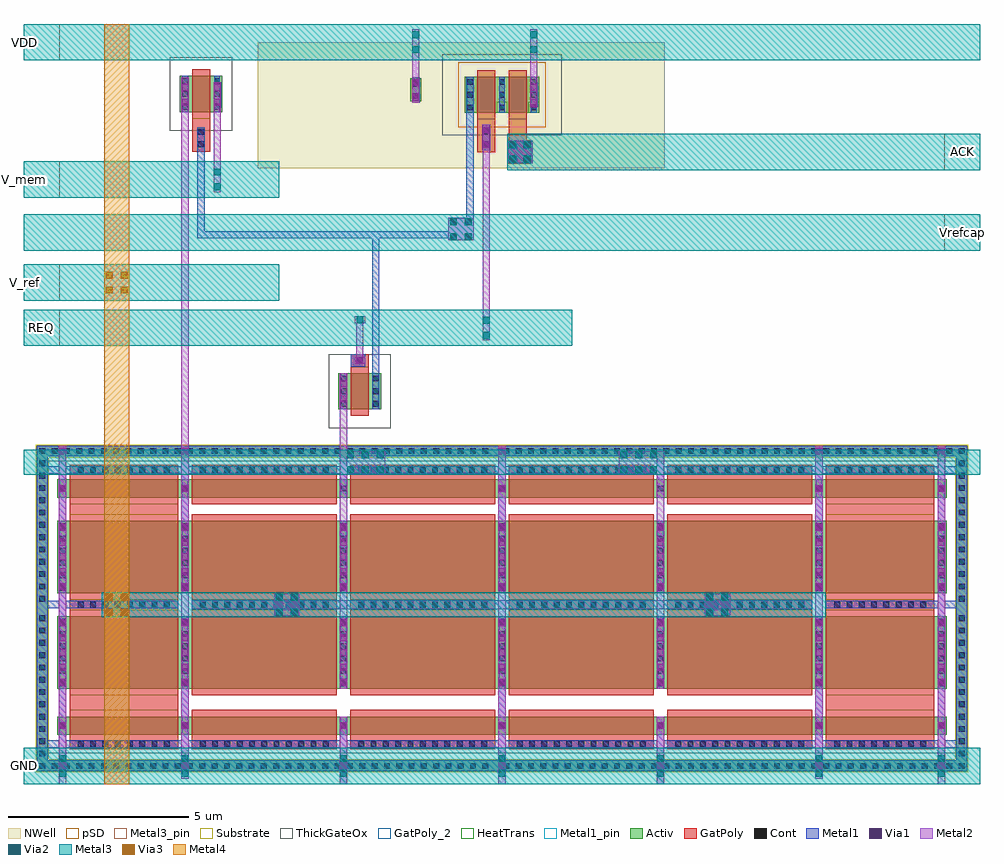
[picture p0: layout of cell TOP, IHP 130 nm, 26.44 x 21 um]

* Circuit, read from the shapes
.subckt TOP ACK GND REQ VDD V_mem V_ref Vrefcap
XM1 GND GND GND GND sg13_hv_nmos w=0.5u l=3u m=4
XM2 GND GND GND GND sg13_hv_nmos w=2u l=3u m=4
XM3 GND GND GND GND sg13_hv_nmos w=0.5u l=4u m=8
XM4 n1 V_ref GND GND sg13_hv_nmos w=2u l=4u m=8
XM5 V_mem Vrefcap GND GND sg13_hv_nmos w=1u l=0.5u
XM6 Vrefcap REQ n1 GND sg13_hv_nmos w=1u l=0.5u
XM7 n2 REQ Vrefcap VDD sg13_hv_pmos w=1u l=0.5u
XM8 VDD ACK n2 VDD sg13_hv_pmos w=1u l=0.5u
.ends

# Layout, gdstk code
from math import pi, radians
import gdstk
lib = gdstk.Library(unit=1e-6, precision=1e-09)
def R(c, l, rs):  # rectangles x0, y0, x1, y1
    for r in rs: c.add(gdstk.rectangle(r[:2], r[2:], *l))
def A(c, l, x, y, w, h, nx, ny, dx, dy):  # array of equal rectangles
    R(c, l, [(x+i*dx, y+j*dy, x+i*dx+w, y+j*dy+h) for i in range(nx) for j in range(ny)])
def P(c, l, *ps):  # polygons
    for p in ps: c.add(gdstk.Polygon(p, *l))
Activ = (1, 0)
GatPoly = (5, 0)
GatPoly_2 = (5, 2)
Cont = (6, 0)
Metal1 = (8, 0)
Metal1_pin = (8, 2)
Metal2 = (10, 0)
pSD = (14, 0)
Via1 = (19, 0)
Via2 = (29, 0)
Metal3 = (30, 0)
Metal3_pin = (30, 2)
NWell = (31, 0)
Substrate = (40, 0)
ThickGateOx = (44, 0)
Via3 = (49, 0)
Metal4 = (50, 0)
HeatTrans = (51, 0)

nmoshv = lib.new_cell('nmosHV')
A(nmoshv, Activ, 0, 0, 0.3, 0.3, 3, 1, 4.38, 0)
R(nmoshv, Activ, [(0,0,9.06,2)])
R(nmoshv, GatPoly, [(0.34,-0.18,4.34,2.18), (4.72,-0.18,8.72,2.18)])
R(nmoshv, GatPoly_2, [(0.34,-0.18,4.34,2.18)])
A(nmoshv, Cont, 0.07, 0.07, 0.16, 0.16, 3, 6, 4.38, 0.34)
A(nmoshv, Metal1, 0.07, 0, 0.16, 2, 3, 1, 4.38, 0)
R(nmoshv, Metal1_pin, [(0.07,0,0.23,2), (4.45,0,4.61,2)])
R(nmoshv, ThickGateOx, [(-0.27,-0.52,9.33,2.52)])
R(nmoshv, HeatTrans, [(0.34,-0.18,4.34,2.18), (4.72,-0.18,8.72,2.18)])
nmoshv.add(gdstk.Label('nmosHV', (2.34,1), layer=63, texttype=0))
nmoshv.add(gdstk.Label('nmosHV', (2.34,1), layer=51, texttype=0))
nmoshv.add(gdstk.Label('nmosHV', (6.72,1), layer=51, texttype=0))

nmoshv_1 = lib.new_cell('nmosHV$1')
A(nmoshv_1, Activ, 0, 0, 0.3, 0.3, 5, 1, 4.38, 0)
R(nmoshv_1, Activ, [(0,0,17.82,0.5)])
A(nmoshv_1, GatPoly, 0.34, -0.18, 4, 0.86, 4, 1, 4.38, 0)
R(nmoshv_1, GatPoly_2, [(0.34,-0.18,4.34,0.68)])
A(nmoshv_1, Cont, 0.07, 0.17, 0.16, 0.16, 5, 1, 4.38, 0)
A(nmoshv_1, Metal1, 0.07, 0, 0.16, 0.5, 5, 1, 4.38, 0)
R(nmoshv_1, Metal1_pin, [(0.07,0,0.23,0.5), (4.45,0,4.61,0.5)])
R(nmoshv_1, ThickGateOx, [(-0.27,-0.52,18.09,1.02)])
A(nmoshv_1, HeatTrans, 0.34, -0.18, 4, 0.86, 4, 1, 4.38, 0)
nmoshv_1.add(gdstk.Label('nmosHV', (2.34,0.25), layer=63, texttype=0))
nmoshv_1.add(gdstk.Label('nmosHV', (2.34,0.25), layer=51, texttype=0))
nmoshv_1.add(gdstk.Label('nmosHV', (6.72,0.25), layer=51, texttype=0))
nmoshv_1.add(gdstk.Label('nmosHV', (11.1,0.25), layer=51, texttype=0))
nmoshv_1.add(gdstk.Label('nmosHV', (15.48,0.25), layer=51, texttype=0))

guard_ring = lib.new_cell('guard_ring')
R(guard_ring, Activ, [(-12.85,-4.2,-12.55,4.2), (12.55,-4.2,12.85,4.2), (-12.85,4.2,12.85,4.5)])
P(guard_ring, Activ, [(-12.85,-4.5),(-12.85,4.2),(-12.55,4.2),(-12.55,-4.2),(12.55,-4.2),(12.55,4.2),(-12.85,4.2),(-12.85,4.5),(12.85,4.5),(12.85,-4.5)])
A(guard_ring, Cont, -12.78, -4.43, 0.16, 0.16, 37, 2, 0.34, 8.7)
A(guard_ring, Cont, 0.04, -4.43, 0.16, 0.16, 38, 2, 0.34, 8.7)
A(guard_ring, Cont, -12.78, -4.09, 0.16, 0.16, 1, 12, 0, 0.34)
A(guard_ring, Cont, 12.62, -4.09, 0.16, 0.16, 1, 12, 0, 0.34)
A(guard_ring, Cont, -12.78, 0.19, 0.16, 0.16, 1, 12, 0, 0.34)
A(guard_ring, Cont, 12.62, 0.19, 0.16, 0.16, 1, 12, 0, 0.34)
R(guard_ring, Metal1, [(-12.85,-4.5,12.85,-4.2), (-12.85,-4.2,-12.55,4.2), (12.55,-4.2,12.85,4.2), (-12.85,4.2,12.85,4.5)])
R(guard_ring, pSD, [(-12.88,-4.17,-12.52,4.17), (12.52,-4.17,12.88,4.17), (-12.88,4.17,12.88,4.53)])
P(guard_ring, pSD, [(-12.88,-4.53),(-12.88,4.17),(-12.52,4.17),(-12.52,-4.17),(12.52,-4.17),(12.52,4.17),(-12.88,4.17),(-12.88,4.53),(12.88,4.53),(12.88,-4.53)])
R(guard_ring, Substrate, [(-12.88,-4.17,-12.52,4.17), (12.52,-4.17,12.88,4.17), (-12.88,4.17,12.88,4.53)])
P(guard_ring, Substrate, [(-12.88,-4.53),(-12.88,4.17),(-12.52,4.17),(-12.52,-4.17),(12.52,-4.17),(12.52,4.17),(-12.88,4.17),(-12.88,4.53),(12.88,4.53),(12.88,-4.53)])
guard_ring.add(gdstk.Label('sub!', (0,-4.35), layer=63, texttype=0))

via_stack = lib.new_cell('via_stack')
R(via_stack, Metal2, [(-0.1,-0.35,0.1,0.35)])
R(via_stack, Via2, [(-0.095,-0.3,0.095,-0.11), (-0.095,0.11,0.095,0.3)])
R(via_stack, Metal3, [(-0.1,-0.35,0.1,0.35)])

via_stack_2 = lib.new_cell('via_stack$2')
R(via_stack_2, Metal1, [(-0.145,-0.105,0.145,0.105)])
R(via_stack_2, Metal2, [(-0.145,-0.1,0.145,0.1)])
R(via_stack_2, Via1, [(-0.095,-0.095,0.095,0.095)])

via_stack_3 = lib.new_cell('via_stack$3')
R(via_stack_3, Metal1, [(-0.965,-0.105,0.965,0.105)])
R(via_stack_3, Metal2, [(-0.965,-0.1,0.965,0.1)])
A(via_stack_3, Via1, -0.915, -0.095, 0.19, 0.19, 5, 1, 0.41, 0)

nmoshv_4 = lib.new_cell('nmosHV$4')
R(nmoshv_4, Activ, [(0,0,0.3,0.3), (0,0,1.18,1), (0.88,0,1.18,0.3)])
R(nmoshv_4, GatPoly, [(0.34,-0.18,0.84,1.18)])
R(nmoshv_4, GatPoly_2, [(0.34,-0.18,0.84,1.18)])
A(nmoshv_4, Cont, 0.07, 0.07, 0.16, 0.16, 1, 3, 0, 0.35)
A(nmoshv_4, Cont, 0.95, 0.07, 0.16, 0.16, 1, 3, 0, 0.35)
R(nmoshv_4, Metal1, [(0.07,0,0.23,1), (0.95,0,1.11,1)])
R(nmoshv_4, Metal1_pin, [(0.07,0,0.23,1), (0.95,0,1.11,1)])
R(nmoshv_4, ThickGateOx, [(-0.27,-0.52,1.45,1.52)])
R(nmoshv_4, HeatTrans, [(0.34,-0.18,0.84,1.18)])
nmoshv_4.add(gdstk.Label('nmosHV', (0.59,0.5), layer=63, texttype=0))
nmoshv_4.add(gdstk.Label('nmosHV', (0.59,0.5), layer=51, texttype=0))

pmoshv = lib.new_cell('pmosHV')
R(pmoshv, Activ, [(0,0,0.3,0.3), (0,0,1.18,1), (0.88,0,1.18,0.3)])
R(pmoshv, GatPoly, [(0.34,-0.18,0.84,1.18)])
R(pmoshv, GatPoly_2, [(0.34,-0.18,0.84,1.18)])
A(pmoshv, Cont, 0.07, 0.07, 0.16, 0.16, 1, 3, 0, 0.35)
A(pmoshv, Cont, 0.95, 0.07, 0.16, 0.16, 1, 3, 0, 0.35)
R(pmoshv, Metal1, [(0.07,0,0.23,1), (0.95,0,1.11,1)])
R(pmoshv, Metal1_pin, [(0.07,0,0.23,1), (0.95,0,1.11,1)])
R(pmoshv, pSD, [(-0.18,-0.4,1.36,1.4)])
R(pmoshv, NWell, [(-0.62,-0.62,1.8,1.62)])
R(pmoshv, Substrate, [(0.88,0,1.18,0.3)])
R(pmoshv, ThickGateOx, [(-0.62,-0.62,1.8,1.62)])
R(pmoshv, HeatTrans, [(0.34,-0.18,0.84,1.18)])
pmoshv.add(gdstk.Label('pmosHV', (0.59,0.5), layer=63, texttype=0))
pmoshv.add(gdstk.Label('pmos', (0.59,0.5), layer=51, texttype=0))

via_stack_16 = lib.new_cell('via_stack$16')
R(via_stack_16, GatPoly, [(-0.32,-0.32,0.32,0.32)])
R(via_stack_16, Cont, [(-0.25,-0.25,-0.09,-0.09), (0.09,-0.25,0.25,-0.09), (-0.25,0.09,-0.09,0.25), (0.09,0.09,0.25,0.25)])
R(via_stack_16, Metal1, [(-0.35,-0.31,0.35,0.31)])
R(via_stack_16, Metal2, [(-0.35,-0.305,0.35,0.305)])
R(via_stack_16, Via1, [(-0.3,-0.3,-0.11,-0.11), (0.11,-0.3,0.3,-0.11), (-0.3,0.11,-0.11,0.3), (0.11,0.11,0.3,0.3)])
R(via_stack_16, Via2, [(-0.3,-0.3,-0.11,-0.11), (0.11,-0.3,0.3,-0.11), (-0.3,0.11,-0.11,0.3), (0.11,0.11,0.3,0.3)])
R(via_stack_16, Metal3, [(-0.35,-0.305,0.35,0.305)])

via_stack_11 = lib.new_cell('via_stack$11')
R(via_stack_11, Metal1, [(-0.105,-0.35,0.105,0.35)])
R(via_stack_11, Metal2, [(-0.1,-0.35,0.1,0.35)])
R(via_stack_11, Via1, [(-0.095,-0.3,0.095,-0.11), (-0.095,0.11,0.095,0.3)])

via_stack_15 = lib.new_cell('via_stack$15')
R(via_stack_15, Activ, [(-0.15,-0.32,0.15,0.32)])
R(via_stack_15, Cont, [(-0.08,-0.25,0.08,-0.09), (-0.08,0.09,0.08,0.25)])
R(via_stack_15, Metal1, [(-0.105,-0.35,0.105,0.35)])
R(via_stack_15, Metal2, [(-0.1,-0.35,0.1,0.35)])
R(via_stack_15, Via1, [(-0.095,-0.3,0.095,-0.11), (-0.095,0.11,0.095,0.3)])

via_stack_19 = lib.new_cell('via_stack$19')
R(via_stack_19, Metal1, [(-0.35,-0.31,0.35,0.31)])
R(via_stack_19, Metal2, [(-0.35,-0.305,0.35,0.305)])
R(via_stack_19, Via1, [(-0.3,-0.3,-0.11,-0.11), (0.11,-0.3,0.3,-0.11), (-0.3,0.11,-0.11,0.3), (0.11,0.11,0.3,0.3)])
R(via_stack_19, Via2, [(-0.3,-0.3,-0.11,-0.11), (0.11,-0.3,0.3,-0.11), (-0.3,0.11,-0.11,0.3), (0.11,0.11,0.3,0.3)])
R(via_stack_19, Metal3, [(-0.35,-0.305,0.35,0.305)])

via_stack_21 = lib.new_cell('via_stack$21')
R(via_stack_21, GatPoly, [(-0.15,-0.15,0.15,0.15)])
R(via_stack_21, Cont, [(-0.08,-0.08,0.08,0.08)])
R(via_stack_21, Metal1, [(-0.145,-0.105,0.145,0.105)])
R(via_stack_21, Metal2, [(-0.145,-0.1,0.145,0.1)])
R(via_stack_21, Via1, [(-0.095,-0.095,0.095,0.095)])

via_stack_20 = lib.new_cell('via_stack$20')
R(via_stack_20, Metal2, [(-0.145,-0.1,0.145,0.1)])
R(via_stack_20, Via2, [(-0.095,-0.095,0.095,0.095)])
R(via_stack_20, Metal3, [(-0.145,-0.1,0.145,0.1)])

via_stack_22 = lib.new_cell('via_stack$22')
R(via_stack_22, GatPoly, [(-0.15,-0.32,0.15,0.32)])
R(via_stack_22, Cont, [(-0.08,-0.25,0.08,-0.09), (-0.08,0.09,0.08,0.25)])
R(via_stack_22, Metal1, [(-0.105,-0.35,0.105,0.35)])
R(via_stack_22, Metal2, [(-0.1,-0.35,0.1,0.35)])
R(via_stack_22, Via1, [(-0.095,-0.3,0.095,-0.11), (-0.095,0.11,0.095,0.3)])

via_stack_10 = lib.new_cell('via_stack$10')
R(via_stack_10, Metal1, [(-0.105,-0.35,0.105,0.35)])
R(via_stack_10, Metal2, [(-0.1,-0.35,0.1,0.35)])
R(via_stack_10, Via1, [(-0.095,-0.3,0.095,-0.11), (-0.095,0.11,0.095,0.3)])

via_stack_12 = lib.new_cell('via_stack$12')
R(via_stack_12, Metal3, [(-0.35,-0.305,0.35,0.305)])
R(via_stack_12, Via3, [(-0.3,-0.3,-0.11,-0.11), (0.11,-0.3,0.3,-0.11), (-0.3,0.11,-0.11,0.3), (0.11,0.11,0.3,0.3)])
R(via_stack_12, Metal4, [(-0.35,-0.305,0.35,0.305)])

via_stack_13 = lib.new_cell('via_stack$13')
R(via_stack_13, GatPoly, [(-0.15,-0.32,0.15,0.32)])
R(via_stack_13, Cont, [(-0.08,-0.25,0.08,-0.09), (-0.08,0.09,0.08,0.25)])
R(via_stack_13, Metal1, [(-0.08,-0.3,0.08,0.3)])

via_stack_8 = lib.new_cell('via_stack$8')
R(via_stack_8, Metal1, [(-0.35,-0.105,0.35,0.105)])
R(via_stack_8, Metal2, [(-0.35,-0.1,0.35,0.1)])
R(via_stack_8, Via1, [(-0.3,-0.095,-0.11,0.095), (0.11,-0.095,0.3,0.095)])

via_stack_9 = lib.new_cell('via_stack$9')
R(via_stack_9, GatPoly, [(-1.34,-0.15,1.34,0.15)])
A(via_stack_9, Cont, -1.27, -0.08, 0.16, 0.16, 8, 1, 0.34, 0)
R(via_stack_9, Metal1, [(-1.32,-0.08,1.32,0.08)])

via_stack_7 = lib.new_cell('via_stack$7')
R(via_stack_7, GatPoly, [(-1.85,-0.15,1.85,0.15)])
A(via_stack_7, Cont, -1.78, -0.08, 0.16, 0.16, 11, 1, 0.34, 0)
R(via_stack_7, Metal1, [(-1.83,-0.08,1.83,0.08)])

nmoshv_2 = lib.new_cell('nmosHV$2')
R(nmoshv_2, Activ, [(0,0,0.3,0.3), (0,0,3.68,0.5), (3.38,0,3.68,0.3)])
R(nmoshv_2, GatPoly, [(0.34,-0.18,3.34,0.68)])
R(nmoshv_2, GatPoly_2, [(0.34,-0.18,3.34,0.68)])
R(nmoshv_2, Cont, [(0.07,0.17,0.23,0.33), (3.45,0.17,3.61,0.33)])
R(nmoshv_2, Metal1, [(0.07,0,0.23,0.5), (3.45,0,3.61,0.5)])
R(nmoshv_2, Metal1_pin, [(0.07,0,0.23,0.5), (3.45,0,3.61,0.5)])
R(nmoshv_2, ThickGateOx, [(-0.27,-0.52,3.95,1.02)])
R(nmoshv_2, HeatTrans, [(0.34,-0.18,3.34,0.68)])
nmoshv_2.add(gdstk.Label('nmosHV', (1.84,0.25), layer=63, texttype=0))
nmoshv_2.add(gdstk.Label('nmosHV', (1.84,0.25), layer=51, texttype=0))

nmoshv_3 = lib.new_cell('nmosHV$3')
R(nmoshv_3, Activ, [(0,0,0.3,0.3), (0,0,3.68,2), (3.38,0,3.68,0.3)])
R(nmoshv_3, GatPoly, [(0.34,-0.18,3.34,2.18)])
R(nmoshv_3, GatPoly_2, [(0.34,-0.18,3.34,2.18)])
A(nmoshv_3, Cont, 0.07, 0.07, 0.16, 0.16, 1, 6, 0, 0.34)
A(nmoshv_3, Cont, 3.45, 0.07, 0.16, 0.16, 1, 6, 0, 0.34)
R(nmoshv_3, Metal1, [(0.07,0,0.23,2), (3.45,0,3.61,2)])
R(nmoshv_3, Metal1_pin, [(0.07,0,0.23,2), (3.45,0,3.61,2)])
R(nmoshv_3, ThickGateOx, [(-0.27,-0.52,3.95,2.52)])
R(nmoshv_3, HeatTrans, [(0.34,-0.18,3.34,2.18)])
nmoshv_3.add(gdstk.Label('nmosHV', (1.84,1), layer=63, texttype=0))
nmoshv_3.add(gdstk.Label('nmosHV', (1.84,1), layer=51, texttype=0))

via_stack_4 = lib.new_cell('via_stack$4')
R(via_stack_4, Metal2, [(-0.35,-0.305,0.35,0.305)])
R(via_stack_4, Via2, [(-0.3,-0.3,-0.11,-0.11), (0.11,-0.3,0.3,-0.11), (-0.3,0.11,-0.11,0.3), (0.11,0.11,0.3,0.3)])
R(via_stack_4, Metal3, [(-0.35,-0.305,0.35,0.305)])

via_stack_6 = lib.new_cell('via_stack$6')
R(via_stack_6, Metal2, [(-0.555,-0.305,0.555,0.305)])
A(via_stack_6, Via2, -0.505, -0.3, 0.19, 0.19, 3, 2, 0.41, 0.41)
R(via_stack_6, Metal3, [(-0.555,-0.305,0.555,0.305)])

top = lib.new_cell('TOP')
A(top, GatPoly, 4.65, 0.455, 4, 0.3, 4, 1, 4.38, 0)
A(top, GatPoly, 4.65, 1.955, 4, 5, 4, 1, 4.38, 0)
R(top, GatPoly, [(1.27,0.455,4.27,8.325), (22.17,0.455,25.17,8.325), (4.65,8.025,8.65,8.325), (4.65,8.025,8.65,8.325), (9.03,8.025,13.03,8.325), (9.03,8.025,13.03,8.325), (13.41,8.025,17.41,8.325), (13.41,8.025,17.41,8.325), (17.79,8.025,21.79,8.325), (17.79,8.025,21.79,8.325), (9.04,10.965,9.54,11.375), (13.41,16.645,13.91,17.92), (12.53,16.96,13.03,17.88), (4.655,16.965,5.155,17.885)])
A(top, Metal1, 4.355, 0.865, 0.21, 0.5, 5, 1, 4.38, 0)
A(top, Metal1, 4.355, 2.135, 0.21, 2, 5, 2, 4.38, 2.64)
R(top, Metal1, [(0.975,0.865,1.185,1.365), (25.255,0.865,25.465,1.365), (0.975,2.135,1.185,4.135), (25.255,2.135,25.465,4.135), (0.975,4.775,1.185,6.775), (25.255,4.775,25.465,6.775), (0.975,7.415,1.185,7.915), (0.975,7.415,1.185,7.915), (4.355,7.415,4.565,7.915), (4.355,7.415,4.565,7.915), (8.74,7.415,8.95,7.915), (8.74,7.415,8.95,7.915), (13.115,7.415,13.325,7.915), (13.115,7.415,13.325,7.915), (17.495,7.415,17.705,7.915), (17.495,7.415,17.705,7.915), (21.875,7.415,22.085,7.915), (21.875,7.415,22.085,7.915), (25.255,7.415,25.465,7.915), (25.255,7.415,25.465,7.915), (1.27,8.07,4.27,8.28), (1.27,8.07,4.27,8.28), (22.17,8.07,25.17,8.28), (22.17,8.07,25.17,8.28), (9.04,11.035,9.44,11.375)])
R(top, Metal3_pin, [(0,-0.5,1,0.5), (0,11.605,1,12.605), (0,12.855,1,13.855), (25.44,14.24,26.44,15.24), (0,15.705,1,16.705), (25.44,16.465,26.44,17.465), (0,19.5,1,20.5)])
R(top, NWell, [(6.47,16.51,17.715,20)])
top.add(gdstk.FlexPath([(1.08,8.85),(1.08,-0.15)], 0.21, ends="flush", simple_path=True, layer=8, datatype=0))  # Metal1
top.add(gdstk.FlexPath([(1.08,2.04),(1.08,0)], 0.21, ends="flush", simple_path=True, layer=8, datatype=0))  # Metal1
top.add(gdstk.FlexPath([(25.36,2.04),(25.36,0)], 0.21, ends="flush", simple_path=True, layer=8, datatype=0))  # Metal1
top.add(gdstk.FlexPath([(25.36,-0.15),(25.36,8.85)], 0.21, ends="flush", simple_path=True, layer=8, datatype=0))  # Metal1
top.add(gdstk.FlexPath([(13.22,8.85),(13.22,4.775)], 0.21, ends="flush", simple_path=True, layer=8, datatype=0))  # Metal1
top.add(gdstk.FlexPath([(4.46,4.135),(4.46,0)], 0.21, ends="flush", simple_path=True, layer=8, datatype=0))  # Metal1
top.add(gdstk.FlexPath([(21.98,4.135),(21.98,0)], 0.21, ends="flush", simple_path=True, layer=8, datatype=0))  # Metal1
top.add(gdstk.FlexPath([(21.98,8.85),(21.98,4.775)], 0.21, ends="flush", simple_path=True, layer=8, datatype=0))  # Metal1
top.add(gdstk.FlexPath([(13.22,4.135),(13.22,0)], 0.21, ends="flush", simple_path=True, layer=8, datatype=0))  # Metal1
top.add(gdstk.FlexPath([(4.65,4.455),(21.79,4.455)], 0.24, ends="flush", simple_path=True, layer=8, datatype=0))  # Metal1
top.add(gdstk.FlexPath([(9.03,4.455),(13.03,4.455)], 0.24, ends="flush", simple_path=True, layer=8, datatype=0))  # Metal1
top.add(gdstk.FlexPath([(13.41,4.455),(17.41,4.455)], 0.24, ends="flush", simple_path=True, layer=8, datatype=0))  # Metal1
top.add(gdstk.FlexPath([(17.79,4.455),(21.79,4.455)], 0.24, ends="flush", simple_path=True, layer=8, datatype=0))  # Metal1
top.add(gdstk.FlexPath([(8.84,1.365),(8.84,-0.5)], 0.21, ends="flush", simple_path=True, layer=8, datatype=0))  # Metal1
top.add(gdstk.FlexPath([(17.6,1.365),(17.6,-0.5)], 0.21, ends="flush", simple_path=True, layer=8, datatype=0))  # Metal1
top.add(gdstk.FlexPath([(8.845,8.85),(8.845,7.415)], 0.21, ends="flush", simple_path=True, layer=8, datatype=0))  # Metal1
top.add(gdstk.FlexPath([(17.6,8.85),(17.6,7.415)], 0.21, ends="flush", simple_path=True, layer=8, datatype=0))  # Metal1
top.add(gdstk.FlexPath([(4.46,8.85),(4.46,4.775)], 0.21, ends="flush", simple_path=True, layer=8, datatype=0))  # Metal1
top.add(gdstk.FlexPath([(4.27,4.455),(0.38,4.455)], 0.21, ends="flush", simple_path=True, layer=8, datatype=0))  # Metal1
top.add(gdstk.FlexPath([(0.38,8.175),(26.06,8.175)], 0.21, ends="flush", simple_path=True, layer=8, datatype=0))  # Metal1
top.add(gdstk.FlexPath([(22.17,4.455),(26.06,4.455),(26.06,4.455)], 0.21, ends="flush", simple_path=True, layer=8, datatype=0))  # Metal1
top.add(gdstk.FlexPath([(0.38,0.605),(26.06,0.605)], 0.21, ends="flush", simple_path=True, layer=8, datatype=0))  # Metal1
top.add(gdstk.FlexPath([(0.38,8.175),(26.06,8.175)], 0.21, ends="flush", simple_path=True, layer=8, datatype=0))  # Metal1
top.add(gdstk.FlexPath([(17.6,8.85),(17.6,7.415)], 0.21, ends="flush", simple_path=True, layer=8, datatype=0))  # Metal1
top.add(gdstk.FlexPath([(8.845,8.85),(8.845,7.415)], 0.21, ends="flush", simple_path=True, layer=8, datatype=0))  # Metal1
top.add(gdstk.FlexPath([(4.9,17.65),(4.9,14.68),(9.735,14.68),(9.735,9.855)], 0.2, ends="flush", simple_path=True, layer=8, datatype=0))  # Metal1
top.add(gdstk.FlexPath([(9.735,14.68),(12.335,14.68),(12.335,19.045)], 0.2, ends="flush", simple_path=True, layer=8, datatype=0))  # Metal1
top.add(gdstk.FlexPath([(8.84,2.135),(8.84,8.695)], 0.21, ends="flush", simple_path=True, layer=10, datatype=0))  # Metal2
top.add(gdstk.FlexPath([(17.6,2.135),(17.6,8.695)], 0.21, ends="flush", simple_path=True, layer=10, datatype=0))  # Metal2
top.add(gdstk.FlexPath([(25.36,8.85),(25.36,-0.5)], 0.21, ends="flush", simple_path=True, layer=10, datatype=0))  # Metal2
top.add(gdstk.FlexPath([(1.08,8.85),(1.08,-0.5)], 0.21, ends="flush", simple_path=True, layer=10, datatype=0))  # Metal2
top.add(gdstk.FlexPath([(13.22,8.85),(13.22,-0.5)], 0.21, ends="flush", simple_path=True, layer=10, datatype=0))  # Metal2
top.add(gdstk.FlexPath([(8.84,1.365),(8.84,-0.5)], 0.21, ends="flush", simple_path=True, layer=10, datatype=0))  # Metal2
top.add(gdstk.FlexPath([(17.6,1.365),(17.6,-0.5)], 0.21, ends="flush", simple_path=True, layer=10, datatype=0))  # Metal2
top.add(gdstk.FlexPath([(14.1,18.64),(14.1,20.11)], 0.2, ends="flush", simple_path=True, layer=10, datatype=0))  # Metal2
top.add(gdstk.FlexPath([(5.355,18.895),(5.355,15.855)], 0.2, ends="flush", simple_path=True, layer=10, datatype=0))  # Metal2
top.add(gdstk.FlexPath([(4.46,8.845),(4.46,19.035)], 0.2, ends="flush", simple_path=True, layer=10, datatype=0))  # Metal2
top.add(gdstk.FlexPath([(8.84,8.695),(8.84,10.855)], 0.2, ends="flush", simple_path=True, layer=10, datatype=0))  # Metal2
top.add(gdstk.FlexPath([(4.46,-0.35),(4.46,9.675)], 0.2, ends="flush", simple_path=True, layer=10, datatype=0))  # Metal2
top.add(gdstk.FlexPath([(21.98,-0.35),(21.98,8.845)], 0.2, ends="flush", simple_path=True, layer=10, datatype=0))  # Metal2
top.add(gdstk.FlexPath([(10.84,20.35),(10.84,18.33)], 0.2, ends="flush", simple_path=True, layer=10, datatype=0))  # Metal2
top.add(gdstk.FlexPath([(9.29,11.115),(9.29,12.43)], 0.2, ends="flush", simple_path=True, layer=10, datatype=0))  # Metal2
top.add(gdstk.FlexPath([(12.785,17.55),(12.785,11.805)], 0.2, ends="flush", simple_path=True, layer=10, datatype=0))  # Metal2
top.add(gdstk.FlexPath([(26.44,8.39),(0,8.39)], 0.7, ends="flush", simple_path=True, layer=30, datatype=0))  # Metal3
top.add(gdstk.FlexPath([(0,0),(26.44,0)], 1, ends="flush", simple_path=True, layer=30, datatype=0))  # Metal3
top.add(gdstk.FlexPath([(2.16,4.455),(22.17,4.455)], 0.7, ends="flush", simple_path=True, layer=30, datatype=0))  # Metal3
top.add(gdstk.FlexPath([(0,20),(26.44,20)], 1, ends="flush", simple_path=True, layer=30, datatype=0))  # Metal3
top.add(gdstk.FlexPath([(26.44,8.39),(0,8.39)], 0.7, ends="flush", simple_path=True, layer=30, datatype=0))  # Metal3
top.add(gdstk.FlexPath([(0,16.205),(7.065,16.205)], 1, ends="flush", simple_path=True, layer=30, datatype=0))  # Metal3
top.add(gdstk.FlexPath([(0,13.355),(7.065,13.355)], 1, ends="flush", simple_path=True, layer=30, datatype=0))  # Metal3
top.add(gdstk.FlexPath([(26.44,16.965),(13.365,16.965)], 1, ends="flush", simple_path=True, layer=30, datatype=0))  # Metal3
top.add(gdstk.FlexPath([(26.44,14.74),(0,14.74)], 1, ends="flush", simple_path=True, layer=30, datatype=0))  # Metal3
top.add(gdstk.FlexPath([(15.165,12.105),(0,12.105)], 1, ends="flush", simple_path=True, layer=30, datatype=0))  # Metal3
top.add(gdstk.FlexPath([(2.575,-0.5),(2.575,20.5)], 0.7, ends="flush", simple_path=True, layer=50, datatype=0))  # Metal4
top.add(gdstk.Reference(nmoshv, (4.31,2.135)))
top.add(gdstk.Reference(nmoshv, (13.07,2.135)))
top.add(gdstk.Reference(nmoshv, (4.31,4.775)))
top.add(gdstk.Reference(nmoshv_1, (4.31,7.415)))
top.add(gdstk.Reference(nmoshv_1, (4.31,0.865)))
top.add(gdstk.Reference(nmoshv, (13.07,4.775)))
top.add(gdstk.Reference(guard_ring, (13.22,4.35)))
top.add(gdstk.Reference(via_stack, (13.22,0)))
top.add(gdstk.Reference(via_stack_2, (13.22,0), rotation=pi/2))
top.add(gdstk.Reference(via_stack_2, (13.22,1.115), rotation=pi/2))
top.add(gdstk.Reference(via_stack_3, (13.22,3.135), rotation=pi/2))
top.add(gdstk.Reference(via_stack_3, (13.22,5.775), rotation=pi/2))
top.add(gdstk.Reference(via_stack_2, (13.22,7.665), rotation=pi/2))
top.add(gdstk.Reference(via_stack_2, (13.22,8.7), rotation=pi/2))
top.add(gdstk.Reference(nmoshv_4, (9.88,10.855), rotation=pi))
top.add(gdstk.Reference(pmoshv, (13.07,18.045)))
top.add(gdstk.Reference(pmoshv, (12.19,18.045)))
top.add(gdstk.Reference(via_stack_2, (13.22,8.7), rotation=pi/2))
top.add(gdstk.Reference(via_stack_2, (13.22,7.665), rotation=pi/2))
top.add(gdstk.Reference(nmoshv_1, (4.31,7.415)))
top.add(gdstk.Reference(via_stack_16, (13.715,16.965)))
top.add(gdstk.Reference(via_stack, (14.1,20)))
top.add(gdstk.Reference(via_stack_11, (14.1,18.545)))
top.add(gdstk.Reference(nmoshv_4, (4.315,18.065)))
top.add(gdstk.Reference(via_stack, (10.84,20)))
top.add(gdstk.Reference(via_stack_15, (10.84,18.68)))
top.add(gdstk.Reference(via_stack_19, (12.085,14.83)))
top.add(gdstk.Reference(via_stack_21, (9.29,11.21)))
top.add(gdstk.Reference(via_stack_20, (9.295,12.33)))
top.add(gdstk.Reference(via_stack_22, (12.785,17.365)))
top.add(gdstk.Reference(via_stack, (12.785,12.105)))
top.add(gdstk.Reference(via_stack, (5.355,16.205)))
top.add(gdstk.Reference(via_stack_11, (5.355,18.545)))
top.add(gdstk.Reference(via_stack_11, (4.465,18.545)))
top.add(gdstk.Reference(via_stack_10, (8.845,10.355)))
top.add(gdstk.Reference(via_stack_12, (2.575,13.355)))
top.add(gdstk.Reference(via_stack_13, (4.9,17.35)))
top.add(gdstk.Reference(via_stack_2, (8.84,1.115), rotation=pi/2))
top.add(gdstk.Reference(via_stack_8, (7.27,4.455)))
top.add(gdstk.Reference(via_stack_3, (1.08,3.135), rotation=pi/2))
top.add(gdstk.Reference(via_stack_3, (1.08,5.775), rotation=pi/2))
top.add(gdstk.Reference(via_stack_2, (1.08,7.665), rotation=pi/2))
top.add(gdstk.Reference(via_stack_9, (2.77,4.455)))
top.add(gdstk.Reference(via_stack_9, (2.77,8.175)))
top.add(gdstk.Reference(via_stack_9, (2.77,0.605)))
top.add(gdstk.Reference(via_stack_7, (6.65,0.605)))
top.add(gdstk.Reference(via_stack_7, (11.03,0.605)))
top.add(gdstk.Reference(via_stack_7, (6.65,8.175)))
top.add(gdstk.Reference(via_stack_7, (11.03,8.175)))
top.add(gdstk.Reference(via_stack_2, (1.08,8.7), rotation=pi/2))
top.add(gdstk.Reference(via_stack, (4.46,0)))
top.add(gdstk.Reference(via_stack_2, (4.46,0), rotation=pi/2))
top.add(gdstk.Reference(via_stack_2, (4.46,1.115), rotation=pi/2))
top.add(gdstk.Reference(via_stack_3, (4.46,3.135), rotation=pi/2))
top.add(gdstk.Reference(via_stack_3, (4.46,5.775), rotation=pi/2))
top.add(gdstk.Reference(via_stack_2, (4.46,7.665), rotation=pi/2))
top.add(gdstk.Reference(via_stack_2, (4.46,8.7), rotation=pi/2))
top.add(gdstk.Reference(nmoshv_2, (0.93,0.865)))
top.add(gdstk.Reference(nmoshv_2, (0.93,7.415)))
top.add(gdstk.Reference(nmoshv_3, (0.93,4.775)))
top.add(gdstk.Reference(via_stack_4, (7.27,4.455)))
top.add(gdstk.Reference(nmoshv_3, (0.93,2.135)))
top.add(gdstk.Reference(via_stack, (1.08,0)))
top.add(gdstk.Reference(via_stack_7, (11.03,8.175)))
top.add(gdstk.Reference(via_stack_7, (6.65,8.175)))
top.add(gdstk.Reference(via_stack_9, (2.77,8.175)))
top.add(gdstk.Reference(via_stack_2, (1.08,7.665), rotation=pi/2))
top.add(gdstk.Reference(via_stack_6, (9.445,8.39)))
top.add(gdstk.Reference(nmoshv_2, (0.93,7.415)))
top.add(gdstk.Reference(via_stack_2, (4.46,8.7), rotation=pi/2))
top.add(gdstk.Reference(via_stack_2, (4.46,7.665), rotation=pi/2))
top.add(gdstk.Reference(via_stack_2, (1.08,8.7), rotation=pi/2))
top.add(gdstk.Reference(via_stack_2, (1.08,0), rotation=pi/2))
top.add(gdstk.Reference(via_stack_6, (9.445,8.39)))
top.add(gdstk.Reference(via_stack_2, (1.08,1.115), rotation=pi/2))
top.add(gdstk.Reference(via_stack_7, (6.65,4.455)))
top.add(gdstk.Reference(via_stack_7, (11.03,4.455)))
top.add(gdstk.Reference(via_stack_3, (8.84,3.135), rotation=pi/2))
top.add(gdstk.Reference(via_stack_3, (8.84,5.775), rotation=pi/2))
top.add(gdstk.Reference(via_stack_4, (7.27,4.455)))
top.add(gdstk.Reference(via_stack_12, (2.575,4.455)))
top.add(gdstk.Reference(via_stack, (8.84,0)))
top.add(gdstk.Reference(via_stack_2, (8.84,0), rotation=pi/2))
top.add(gdstk.Reference(nmoshv_3, (21.83,4.775)))
top.add(gdstk.Reference(nmoshv_2, (21.83,7.415)))
top.add(gdstk.Reference(via_stack_3, (17.6,3.135), rotation=pi/2))
top.add(gdstk.Reference(via_stack_6, (16.995,8.39)))
top.add(gdstk.Reference(nmoshv_2, (21.83,0.865)))
top.add(gdstk.Reference(via_stack_3, (17.6,5.775), rotation=pi/2))
top.add(gdstk.Reference(via_stack, (21.98,0)))
top.add(gdstk.Reference(via_stack_2, (21.98,0), rotation=pi/2))
top.add(gdstk.Reference(nmoshv_3, (21.83,2.135)))
top.add(gdstk.Reference(via_stack_7, (15.41,8.175)))
top.add(gdstk.Reference(via_stack_2, (21.98,1.115), rotation=pi/2))
top.add(gdstk.Reference(via_stack_7, (19.79,8.175)))
top.add(gdstk.Reference(via_stack, (17.6,0)))
top.add(gdstk.Reference(via_stack_2, (17.6,0), rotation=pi/2))
top.add(gdstk.Reference(via_stack_2, (17.6,1.115), rotation=pi/2))
top.add(gdstk.Reference(via_stack_7, (19.79,8.175)))
top.add(gdstk.Reference(via_stack_7, (15.41,8.175)))
top.add(gdstk.Reference(via_stack_2, (25.36,7.665), rotation=pi/2))
top.add(gdstk.Reference(via_stack_9, (23.67,8.175)))
top.add(gdstk.Reference(via_stack_2, (25.36,8.7), rotation=pi/2))
top.add(gdstk.Reference(via_stack_2, (21.98,8.7), rotation=pi/2))
top.add(gdstk.Reference(via_stack_2, (21.98,7.665), rotation=pi/2))
top.add(gdstk.Reference(via_stack_6, (16.995,8.39)))
top.add(gdstk.Reference(nmoshv_2, (21.83,7.415)))
top.add(gdstk.Reference(via_stack_3, (21.98,3.135), rotation=pi/2))
top.add(gdstk.Reference(via_stack_8, (19.17,4.445)))
top.add(gdstk.Reference(via_stack_3, (21.98,5.775), rotation=pi/2))
top.add(gdstk.Reference(via_stack_2, (21.98,7.665), rotation=pi/2))
top.add(gdstk.Reference(via_stack_2, (21.98,8.7), rotation=pi/2))
top.add(gdstk.Reference(via_stack, (25.36,0)))
top.add(gdstk.Reference(via_stack_2, (25.36,0), rotation=pi/2))
top.add(gdstk.Reference(via_stack_2, (25.36,8.7), rotation=pi/2))
top.add(gdstk.Reference(via_stack_2, (25.36,1.115), rotation=pi/2))
top.add(gdstk.Reference(via_stack_3, (25.36,3.135), rotation=pi/2))
top.add(gdstk.Reference(via_stack_9, (23.67,4.455)))
top.add(gdstk.Reference(via_stack_9, (23.67,8.175)))
top.add(gdstk.Reference(via_stack_9, (23.67,0.605)))
top.add(gdstk.Reference(via_stack_3, (25.36,5.775), rotation=pi/2))
top.add(gdstk.Reference(via_stack_2, (25.36,7.665), rotation=pi/2))
top.add(gdstk.Reference(via_stack_7, (15.41,0.605)))
top.add(gdstk.Reference(via_stack_7, (19.79,0.605)))
top.add(gdstk.Reference(via_stack_7, (15.41,4.455)))
top.add(gdstk.Reference(via_stack_7, (19.79,4.455)))
top.add(gdstk.Reference(via_stack_4, (19.17,4.455)))
top.add(gdstk.Label('GND', (0.035,0), layer=30, texttype=25))
top.add(gdstk.Label('VDD', (0.035,20), layer=30, texttype=25))
top.add(gdstk.Label('ACK', (25.94,16.965), layer=30, texttype=25))
top.add(gdstk.Label('REQ', (0.5,12.105), layer=30, texttype=25))
top.add(gdstk.Label('V_mem', (0.035,16.205), layer=30, texttype=25))
top.add(gdstk.Label('V_ref', (0.035,13.355), layer=30, texttype=25))
top.add(gdstk.Label('Vrefcap', (25.94,14.74), layer=30, texttype=25))

lib.write_gds('TOP.gds')
